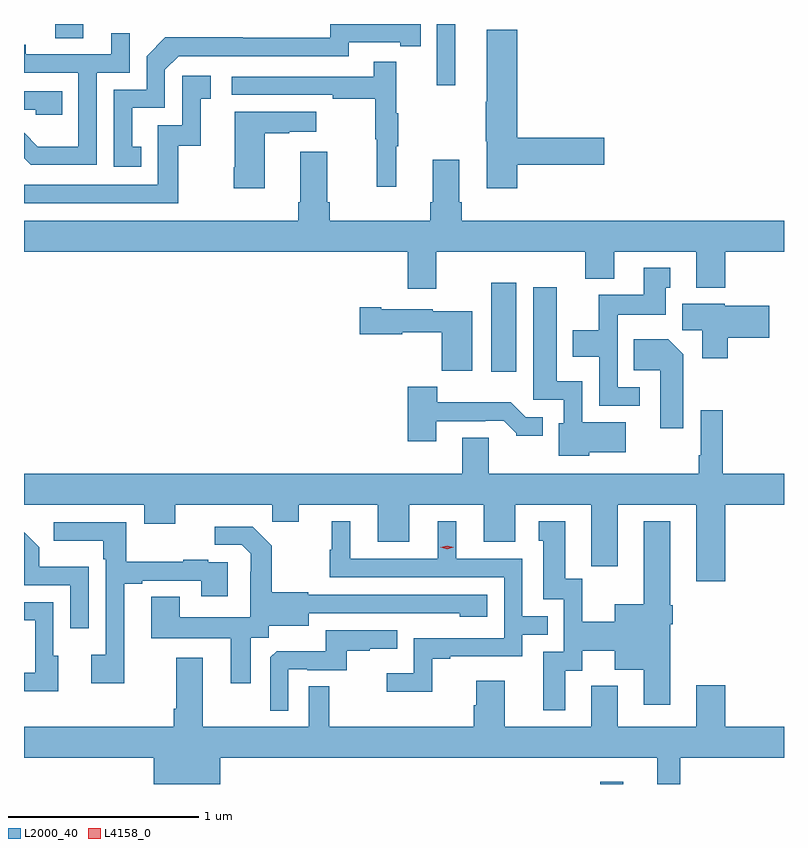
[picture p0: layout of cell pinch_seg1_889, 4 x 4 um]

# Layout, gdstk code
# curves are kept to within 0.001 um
import gdstk
lib = gdstk.Library(unit=1e-6, precision=1e-09)
def R(c, l, rs):  # rectangles x0, y0, x1, y1
    for r in rs: c.add(gdstk.rectangle(r[:2], r[2:], *l))
def P(c, l, *ps):  # polygons
    for p in ps: c.add(gdstk.Polygon(p, *l))
L2000_40 = (2000, 40)
L4158_0 = (4158, 0)

pinch_seg1_889 = lib.new_cell('pinch_seg1_889')
R(pinch_seg1_889, L2000_40, [(571.308,534.279,571.429,534.292), (570.734,536.448,570.865,536.917), (570.447,537.957,570.544,538.279), (568.438,538.204,568.585,538.279)])
P(pinch_seg1_889, L2000_40, [(568.892,537.633),(568.843,537.633),(568.843,537.837),(569.016,537.837),(569.016,538.038),(569.088,538.11),(569.982,538.11),(569.982,538.182),(570.254,538.182),(570.254,538.162),(570.362,538.162),(570.362,538.278),(569.886,538.279),(569.886,538.206),(569.426,538.206),(569.426,538.208),(569.018,538.208),(568.92,538.11),(568.92,537.933),(568.746,537.933),(568.746,537.528),(568.892,537.528)],
  [(570.869,537.538),(571.327,537.538),(571.327,537.68),(570.869,537.68),(570.869,538.249),(570.71,538.249),(570.71,537.869),(570.703,537.869),(570.703,537.663),(570.71,537.663),(570.71,537.414),(570.869,537.414)],
  [(568.656,538.023),(568.83,538.023),(568.83,538.231),(568.733,538.231),(568.733,538.119),(568.282,538.119),(568.282,538.171),(568.274,538.171),(568.274,538.023),(568.56,538.023),(568.56,537.634),(568.346,537.634),(568.274,537.706),(568.274,537.573),(568.31,537.537),(568.656,537.537)],
  [(570.233,537.635),(570.244,537.635),(570.244,537.809),(570.233,537.809),(570.233,538.081),(570.115,538.081),(570.115,538.002),(569.367,538.002),(569.367,537.906),(569.899,537.906),(569.899,537.886),(570.123,537.886),(570.123,537.672),(570.13,537.672),(570.13,537.423),(570.233,537.423)],
  [(569.086,537.639),(569.204,537.639),(569.204,537.885),(569.257,537.885),(569.257,538.006),(569.106,538.006),(569.106,537.747),(568.977,537.747),(568.977,537.432),(568.274,537.432),(568.274,537.336),(569.086,537.336)],
  [(568.475,537.924),(568.274,537.924),(568.274,537.828),(568.335,537.828),(568.335,537.801),(568.475,537.801)],
  [(569.542,537.703),(569.669,537.703),(569.669,537.713),(569.812,537.713),(569.812,537.817),(569.384,537.817),(569.384,537.526),(569.377,537.526),(569.377,537.414),(569.542,537.414)],
  [(570.445,537.08),(571.229,537.08),(571.229,536.939),(571.381,536.939),(571.381,537.08),(571.811,537.08),(571.811,536.891),(571.964,536.891),(571.964,537.08),(572.274,537.08),(572.274,537.244),(570.578,537.244),(570.578,537.34),(570.565,537.34),(570.565,537.565),(570.425,537.565),(570.425,537.34),(570.413,537.34),(570.413,537.244),(569.882,537.244),(569.882,537.34),(569.869,537.34),(569.869,537.607),(569.729,537.607),(569.729,537.34),(569.717,537.34),(569.717,537.244),(568.274,537.244),(568.274,537.08),(570.293,537.08),(570.293,536.886),(570.445,536.886)],
  [(571.516,536.367),(571.398,536.367),(571.398,536.75),(571.651,536.75),(571.651,536.892),(571.675,536.892),(571.675,536.995),(571.535,536.995),(571.535,536.854),(571.3,536.854),(571.3,536.668),(571.163,536.668),(571.163,536.528),(571.302,536.528),(571.302,536.271),(571.516,536.271)],
  [(571.248,536.024),(571.441,536.024),(571.441,536.182),(571.212,536.182),(571.212,536.398),(571.078,536.398),(571.078,536.893),(570.953,536.893),(570.953,536.301),(571.116,536.301),(571.116,536.178),(571.088,536.178),(571.088,536.006),(571.248,536.006)],
  [(571.979,536.627),(572.197,536.627),(572.197,536.797),(571.962,536.797),(571.962,536.806),(571.739,536.806),(571.739,536.668),(571.844,536.668),(571.844,536.52),(571.979,536.52)],
  [(570.634,536.767),(570.426,536.767),(570.426,536.779),(570.154,536.779),(570.154,536.787),(570.042,536.787),(570.042,536.645),(570.264,536.645),(570.264,536.657),(570.472,536.657),(570.472,536.453),(570.634,536.453)],
  [(571.744,536.542),(571.666,536.62),(571.483,536.62),(571.483,536.456),(571.622,536.456),(571.622,536.151),(571.744,536.151)],
  [(570.445,536.187),(570.701,536.187),(570.701,536.19),(570.8,536.19),(570.864,536.126),(570.864,536.111),(571.003,536.111),(571.003,536.208),(570.915,536.208),(570.837,536.287),(570.448,536.287),(570.448,536.371),(570.293,536.371),(570.293,536.082),(570.445,536.082)],
  [(571.964,535.748),(572.274,535.748),(572.274,535.912),(571.952,535.912),(571.952,536.245),(571.836,536.245),(571.836,536.008),(571.824,536.008),(571.824,535.912),(570.721,535.912),(570.721,536.102),(570.581,536.102),(570.581,535.912),(568.274,535.912),(568.274,535.748),(568.907,535.748),(568.907,535.649),(569.071,535.649),(569.071,535.748),(569.581,535.748),(569.581,535.658),(569.719,535.658),(569.719,535.748),(570.137,535.748),(570.137,535.554),(570.301,535.554),(570.301,535.748),(570.695,535.748),(570.695,535.554),(570.859,535.554),(570.859,535.748),(571.259,535.748),(571.259,535.537),(571.26,535.537),(571.26,535.425),(571.399,535.425),(571.399,535.748),(571.811,535.748),(571.811,535.347),(571.964,535.347)],
  [(570.423,534.939),(570.517,534.939),(570.517,534.951),(570.897,534.951),(570.897,535.065),(571.031,535.065),(571.031,535.161),(570.897,535.161),(570.897,535.464),(570.55,535.464),(570.55,535.663),(570.452,535.663),(570.452,535.464),(569.992,535.464),(569.992,535.663),(569.894,535.663),(569.894,535.512),(569.883,535.512),(569.883,535.368),(570.801,535.368),(570.801,535.047),(570.324,535.047),(570.324,534.862),(570.183,534.862),(570.183,534.764),(570.423,534.764)],
  [(571.123,534.874),(571.213,534.874),(571.213,534.98),(571.382,534.98),(571.382,534.881),(571.535,534.881),(571.535,534.696),(571.675,534.696),(571.675,535.121),(571.688,535.121),(571.688,535.221),(571.675,535.221),(571.675,535.663),(571.535,535.663),(571.535,535.225),(571.382,535.225),(571.382,535.132),(571.212,535.132),(571.212,535.359),(571.123,535.359),(571.123,535.663),(570.983,535.663),(570.983,535.56),(571.007,535.56),(571.007,535.251),(571.116,535.251),(571.116,534.975),(571.007,534.975),(571.007,534.666),(571.123,534.666)],
  [(568.801,535.332),(568.897,535.332),(568.897,535.35),(569.207,535.35),(569.207,535.266),(569.347,535.266),(569.347,535.446),(569.243,535.446),(569.243,535.459),(569.111,535.459),(569.111,535.448),(568.813,535.448),(568.813,535.656),(568.431,535.656),(568.431,535.559),(568.692,535.559),(568.692,535.463),(568.704,535.463),(568.704,534.958),(568.629,534.958),(568.629,534.81),(568.801,534.81)],
  [(569.467,535.048),(569.562,535.048),(569.562,535.112),(569.773,535.112),(569.773,535.179),(570.567,535.178),(570.567,535.16),(570.712,535.16),(570.712,535.275),(569.769,535.275),(569.769,535.288),(569.577,535.288),(569.577,535.533),(569.477,535.633),(569.277,535.633),(569.277,535.539),(569.421,535.539),(569.468,535.492),(569.468,535.397),(569.466,535.397),(569.466,535.156),(569.095,535.156),(569.095,535.265),(568.943,535.265),(568.943,535.046),(569.363,535.046),(569.363,534.81),(569.467,534.81)],
  [(568.614,535.423),(568.353,535.423),(568.353,535.526),(568.274,535.604),(568.274,535.326),(568.518,535.326),(568.518,535.098),(568.614,535.098)],
  [(568.453,534.954),(568.428,534.954),(568.428,535.236),(568.274,535.236),(568.274,535.14),(568.332,535.14),(568.332,534.864),(568.274,534.864),(568.274,534.767),(568.453,534.767)],
  [(569.664,534.882),(569.764,534.882),(569.764,534.879),(569.972,534.879),(569.972,534.981),(570.095,534.981),(570.095,534.992),(570.239,534.992),(570.239,535.089),(569.862,535.089),(569.862,534.977),(569.603,534.977),(569.571,534.945),(569.571,534.665),(569.664,534.665)],
  [(571.399,534.796),(571.259,534.796),(571.259,534.58),(570.805,534.58),(570.805,534.823),(570.653,534.823),(570.653,534.693),(570.641,534.693),(570.641,534.58),(569.881,534.58),(569.881,534.794),(569.772,534.794),(569.772,534.58),(569.215,534.58),(569.215,534.943),(569.075,534.943),(569.075,534.676),(569.063,534.676),(569.063,534.58),(568.274,534.58),(568.274,534.416),(568.958,534.416),(568.958,534.279),(569.308,534.279),(569.308,534.416),(571.607,534.416),(571.607,534.279),(571.729,534.279),(571.729,534.416),(572.274,534.416),(572.274,534.58),(571.964,534.58),(571.964,534.799),(571.811,534.799),(571.811,534.58),(571.399,534.58)])
P(pinch_seg1_889, L4158_0, [(570.501,535.514),(570.465,535.524),(570.465,535.524),(570.465,535.525),(570.501,535.534),(570.537,535.525),(570.537,535.524),(570.537,535.524)])

lib.write_gds('pinch_seg1_889.gds')
